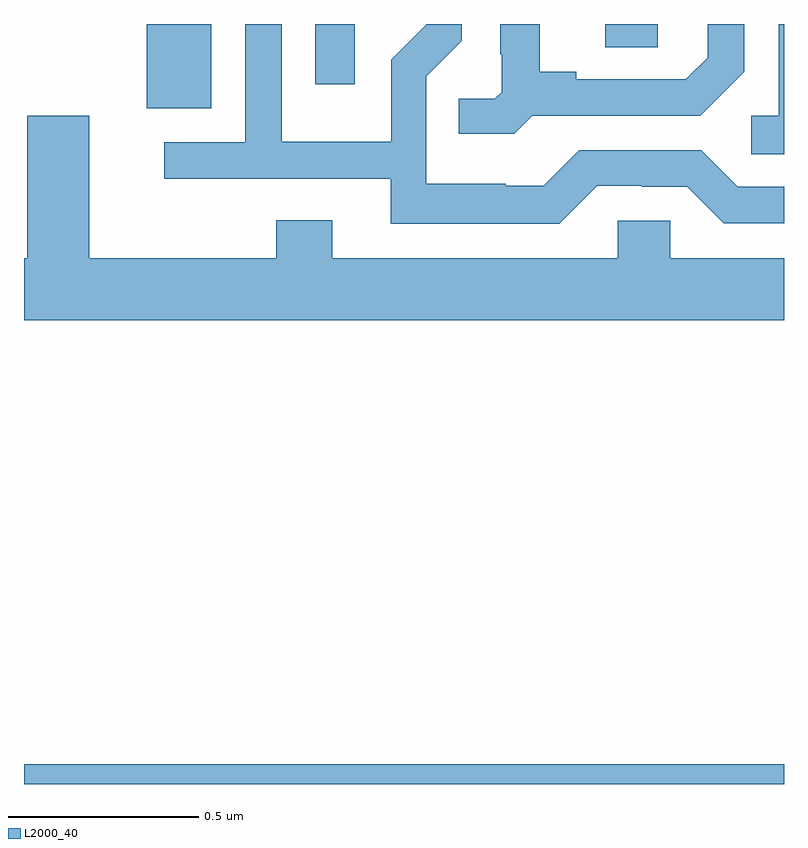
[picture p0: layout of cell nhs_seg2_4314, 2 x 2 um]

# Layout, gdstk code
import gdstk
lib = gdstk.Library(unit=1e-6, precision=1e-09)
def R(c, l, rs):  # rectangles x0, y0, x1, y1
    for r in rs: c.add(gdstk.rectangle(r[:2], r[2:], *l))
def P(c, l, *ps):  # polygons
    for p in ps: c.add(gdstk.Polygon(p, *l))
L2000_40 = (2000, 40)

nhs_seg2_4314 = lib.new_cell('nhs_seg2_4314')
R(nhs_seg2_4314, L2000_40, [(165,595.8,167,595.852), (165.323,597.578,165.493,597.8), (165.767,597.642,165.871,597.8), (166.529,597.739,166.668,597.8)])
P(nhs_seg2_4314, L2000_40, [(166.338,597.558),(166.78,597.558),(166.896,597.674),(166.896,597.8),(166.799,597.8),(166.799,597.711),(166.742,597.654),(166.453,597.654),(166.453,597.674),(166.357,597.674),(166.357,597.8),(166.253,597.8),(166.253,597.721),(166.257,597.721),(166.257,597.621),(166.239,597.603),(166.144,597.603),(166.144,597.511),(166.29,597.511)],
  [(167,597.8),(166.986,597.8),(166.986,597.558),(166.914,597.558),(166.914,597.457),(167,597.457)],
  [(166.509,597.375),(166.626,597.375),(166.626,597.372),(166.746,597.372),(166.842,597.276),(167,597.276),(167,597.372),(166.878,597.372),(166.782,597.468),(166.461,597.468),(166.368,597.375),(166.268,597.375),(166.268,597.379),(166.059,597.379),(166.059,597.663),(166.152,597.756),(166.152,597.8),(166.058,597.8),(166.058,597.798),(165.966,597.706),(165.966,597.49),(165.678,597.49),(165.678,597.8),(165.582,597.8),(165.582,597.489),(165.369,597.489),(165.369,597.393),(165.965,597.393),(165.965,597.275),(166.409,597.275)],
  [(165.008,597.559),(165.008,597.184),(165,597.184),(165,597.02),(167,597.02),(167,597.184),(166.701,597.184),(166.701,597.282),(166.563,597.282),(166.563,597.184),(165.811,597.184),(165.811,597.283),(165.664,597.283),(165.664,597.184),(165.172,597.184),(165.172,597.559)])

lib.write_gds('nhs_seg2_4314.gds')
